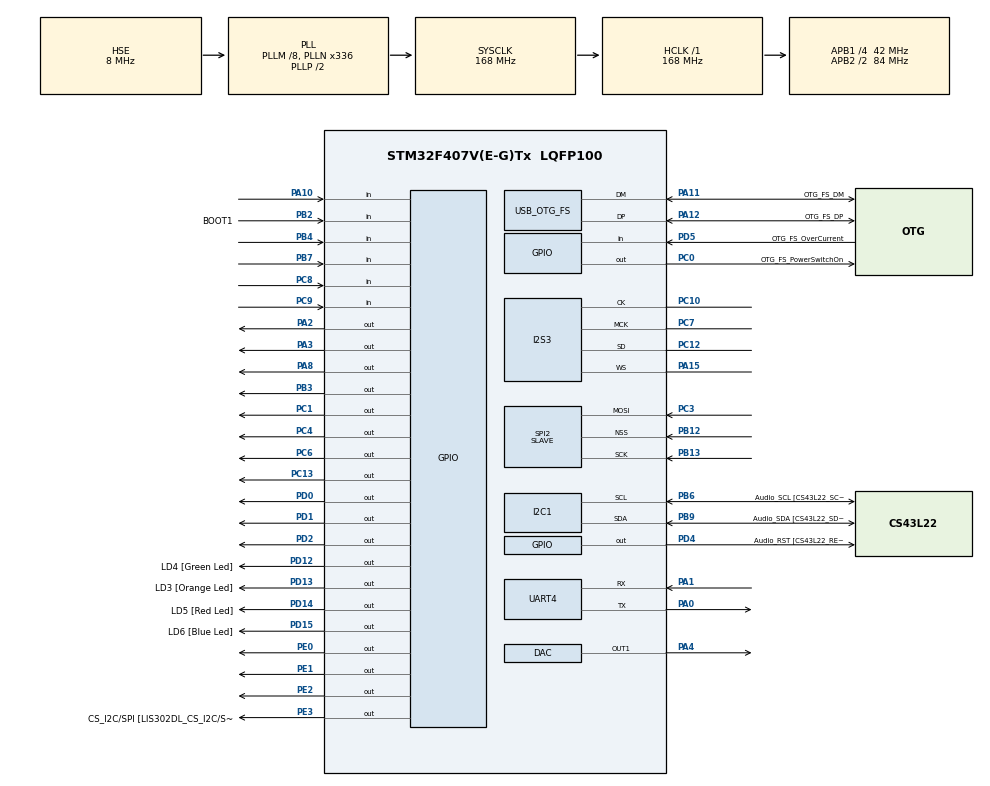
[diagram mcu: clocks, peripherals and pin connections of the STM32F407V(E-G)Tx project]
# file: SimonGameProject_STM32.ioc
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Dma.Request0=SPI3_TX
Dma.SPI3_TX.0.Direction=DMA_MEMORY_TO_PERIPH
Dma.SPI3_TX.0.FIFOMode=DMA_FIFOMODE_ENABLE
Dma.SPI3_TX.0.FIFOThreshold=DMA_FIFO_THRESHOLD_FULL
Dma.SPI3_TX.0.Instance=DMA1_Stream5
Dma.SPI3_TX.0.MemBurst=DMA_MBURST_SINGLE
Dma.SPI3_TX.0.MemDataAlignment=DMA_MDATAALIGN_HALFWORD
Dma.SPI3_TX.0.MemInc=DMA_MINC_ENABLE
Dma.SPI3_TX.0.Mode=DMA_CIRCULAR
Dma.SPI3_TX.0.PeriphBurst=DMA_PBURST_SINGLE
Dma.SPI3_TX.0.PeriphDataAlignment=DMA_PDATAALIGN_HALFWORD
Dma.SPI3_TX.0.PeriphInc=DMA_PINC_DISABLE
Dma.SPI3_TX.0.Priority=DMA_PRIORITY_LOW
I2S3.AudioFreq=I2S_AUDIOFREQ_48K
I2S3.ErrorAudioFreq=-2.34 %
I2S3.FullDuplexMode=I2S_FULLDUPLEXMODE_DISABLE
I2S3.Instance=SPI$Index
I2S3.RealAudioFreq=46.875 KHz
I2S3.VirtualMode=I2S_MODE_MASTER
Mcu.Family=STM32F4
Mcu.Name=STM32F407V(E-G)Tx
Mcu.Package=LQFP100
NVIC.DMA1_Stream5_IRQn=true\:0\:0\:false\:false\:true\:false\:true\:true
NVIC.OTG_FS_IRQn=true\:0\:0\:false\:false\:true\:true\:true\:true
NVIC.PriorityGroup=NVIC_PRIORITYGROUP_0
NVIC.TIM2_IRQn=true\:0\:0\:false\:false\:true\:true\:true\:true
PA0-WKUP.Mode=Asynchronous
PA0-WKUP.Signal=UART4_TX
PA1.Mode=Asynchronous
PA1.Signal=UART4_RX
PA10.Signal=GPIO_Input
PA11.GPIO_Label=OTG_FS_DM
PA11.GPIO_Mode=GPIO_MODE_AF_PP
PA11.GPIO_PuPd=GPIO_NOPULL
PA11.GPIO_Speed=GPIO_SPEED_FREQ_LOW
PA11.Mode=Host_Only
PA11.Signal=USB_OTG_FS_DM
PA12.GPIO_Label=OTG_FS_DP
PA12.GPIO_Mode=GPIO_MODE_AF_PP
PA12.GPIO_PuPd=GPIO_NOPULL
PA12.GPIO_Speed=GPIO_SPEED_FREQ_LOW
PA12.Mode=Host_Only
PA12.Signal=USB_OTG_FS_DP
PA13.GPIO_Label=SWDIO
PA13.Mode=Serial_Wire
PA13.Signal=SYS_JTMS-SWDIO
PA14.GPIO_Label=SWCLK
PA14.Mode=Serial_Wire
PA14.Signal=SYS_JTCK-SWCLK
PA15.Mode=Half_Duplex_Master
PA15.Signal=I2S3_WS
PA2.Signal=GPIO_Output
PA3.Signal=GPIO_Output
PA4.Signal=COMP_DAC1_group
PA8.Signal=GPIO_Output
PB12.Mode=NSS_Signal_Hard_Input
PB12.Signal=SPI2_NSS
PB13.Mode=RX_Only_Simplex_Unidirect_Slave
PB13.Signal=SPI2_SCK
PB2.GPIO_Label=BOOT1
PB2.GPIO_Mode=GPIO_MODE_INPUT
PB2.GPIO_PuPd=GPIO_NOPULL
PB2.Signal=GPIO_Input
PB3.Signal=GPIO_Output
PB4.Signal=GPIO_Input
PB6.GPIO_Label=Audio_SCL [CS43L22_SCL]
PB6.GPIO_Mode=GPIO_MODE_AF_OD
PB6.GPIO_Pu=GPIO_PULLUP
PB6.GPIO_PuPd=GPIO_NOPULL
PB6.GPIO_Speed=GPIO_SPEED_FREQ_LOW
PB6.Mode=I2C
PB6.Signal=I2C1_SCL
PB7.Signal=GPIO_Input
PB9.GPIO_Label=Audio_SDA [CS43L22_SDA]
PB9.GPIO_Mode=GPIO_MODE_AF_OD
PB9.GPIO_Pu=GPIO_PULLUP
PB9.GPIO_PuPd=GPIO_NOPULL
PB9.GPIO_Speed=GPIO_SPEED_FREQ_LOW
PB9.Mode=I2C
PB9.Signal=I2C1_SDA
PC0.GPIO_Label=OTG_FS_PowerSwitchOn
PC0.GPIO_PuPd=GPIO_NOPULL
PC0.GPIO_Speed=GPIO_SPEED_FREQ_LOW
PC0.PinState=GPIO_PIN_SET
PC0.Signal=GPIO_Output
PC1.Signal=GPIO_Output
PC10.Mode=Half_Duplex_Master
PC10.Signal=I2S3_CK
PC12.Mode=Half_Duplex_Master
PC12.Signal=I2S3_SD
PC13-ANTI_TAMP.Signal=GPIO_Output
PC14-OSC32_IN.GPIO_Label=PC14-OSC32_IN
PC14-OSC32_IN.Signal=RCC_OSC32_IN
PC15-OSC32_OUT.GPIO_Label=PC15-OSC32_OUT
PC15-OSC32_OUT.Signal=RCC_OSC32_OUT
PC3.Mode=RX_Only_Simplex_Unidirect_Slave
PC3.Signal=SPI2_MOSI
PC4.Signal=GPIO_Output
PC6.Signal=GPIO_Output
PC7.Mode=Master_Clock_Activated
PC7.Signal=I2S3_MCK
PC8.Signal=GPIO_Input
PC9.Signal=GPIO_Input
PD0.Signal=GPIO_Output
PD1.Signal=GPIO_Output
PD12.GPIO_Label=LD4 [Green Led]
PD12.GPIO_PuPd=GPIO_NOPULL
PD12.GPIO_Speed=GPIO_SPEED_FREQ_LOW
PD12.Signal=GPIO_Output
PD13.GPIO_Label=LD3 [Orange Led]
PD13.GPIO_PuPd=GPIO_NOPULL
PD13.GPIO_Speed=GPIO_SPEED_FREQ_LOW
PD13.Signal=GPIO_Output
PD14.GPIO_Label=LD5 [Red Led]
PD14.GPIO_PuPd=GPIO_NOPULL
PD14.GPIO_Speed=GPIO_SPEED_FREQ_LOW
PD14.Signal=GPIO_Output
PD15.GPIO_Label=LD6 [Blue Led]
PD15.GPIO_PuPd=GPIO_NOPULL
PD15.GPIO_Speed=GPIO_SPEED_FREQ_LOW
PD15.Signal=GPIO_Output
PD2.Signal=GPIO_Output
PD4.GPIO_Label=Audio_RST [CS43L22_RESET]
PD4.GPIO_PuPd=GPIO_NOPULL
PD4.GPIO_Speed=GPIO_SPEED_FREQ_LOW
PD4.Signal=GPIO_Output
PD5.GPIO_Label=OTG_FS_OverCurrent
PD5.GPIO_Mode=GPIO_MODE_INPUT
PD5.GPIO_PuPd=GPIO_NOPULL
PD5.Signal=GPIO_Input
PE0.Signal=GPIO_Output
PE1.Signal=GPIO_Output
PE2.Signal=GPIO_Output
PE3.GPIO_Label=CS_I2C/SPI [LIS302DL_CS_I2C/SPI]
PE3.GPIO_PuPd=GPIO_NOPULL
PE3.GPIO_Speed=GPIO_SPEED_FREQ_LOW
PE3.Signal=GPIO_Output
PH0-OSC_IN.GPIO_Label=PH0-OSC_IN
PH0-OSC_IN.Mode=HSE-External-Oscillator
PH0-OSC_IN.Signal=RCC_OSC_IN
PH1-OSC_OUT.GPIO_Label=PH1-OSC_OUT
PH1-OSC_OUT.Mode=HSE-External-Oscillator
PH1-OSC_OUT.Signal=RCC_OSC_OUT
ProjectManager.HeapSize=0x200
ProjectManager.StackSize=0x400
ProjectManager.TargetToolchain=STM32CubeIDE
RCC.48MHZClocksFreq_Value=48000000
RCC.AHBFreq_Value=168000000
RCC.APB1CLKDivider=RCC_HCLK_DIV4
RCC.APB1Freq_Value=42000000
RCC.APB1TimFreq_Value=84000000
RCC.APB2CLKDivider=RCC_HCLK_DIV2
RCC.APB2Freq_Value=84000000
RCC.APB2TimFreq_Value=168000000
RCC.CortexFreq_Value=168000000
RCC.HCLKFreq_Value=168000000
RCC.HSE_VALUE=8000000
RCC.HSI_VALUE=16000000
RCC.PLLM=8
RCC.PLLN=336
RCC.PLLQ=7
RCC.SYSCLKFreq_VALUE=168000000
RCC.SYSCLKSource=RCC_SYSCLKSOURCE_PLLCLK
RCC.VCOOutputFreq_Value=336000000
SH.COMP_DAC1_group.0=DAC_OUT1,DAC_OUT1
SPI2.Direction=SPI_DIRECTION_2LINES_RXONLY
SPI2.Mode=SPI_MODE_SLAVE
SPI2.VirtualNSS=VM_NSSHARD
SPI2.VirtualType=VM_SLAVE
TIM2.Period=20-1
TIM2.Prescaler=84-1
TIM2.TIM_MasterOutputTrigger=TIM_TRGO_UPDATE
UART4.VirtualMode=Asynchronous
USB_HOST.BSP.number=1
USB_HOST.USBH_HandleTypeDef-CDC_FS=hUsbHostFS
USB_HOST.VirtualModeFS=Cdc
USB_HOST0.BSP.STBoard=false
USB_HOST0.BSP.api=Unknown
USB_HOST0.BSP.instance=PC0
USB_HOST0.BSP.ip=GPIO
USB_HOST0.BSP.mode=Output
USB_HOST0.BSP.name=Drive_VBUS_FS
USB_HOST0.BSP.solution=PC0
USB_OTG_FS.VirtualMode=Host_Only
USB_OTG_FS.phy_itface=HCD_PHY_EMBEDDED
VP_TIM2_VS_ClockSourceINT.Mode=Internal
VP_USB_HOST_VS_USB_HOST_CDC_FS.Mode=CDC_FS
board=STM32F407G-DISC1

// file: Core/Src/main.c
/* USER CODE BEGIN Header */
/**
  ******************************************************************************
  * @file           : main.c
  * @brief          : Main program body
  ******************************************************************************
  * @attention
  *
  * Copyright (c) 2023 STMicroelectronics.
  * All rights reserved.
  *
  * This software is licensed under terms that can be found in the LICENSE file
  * in the root directory of this software component.
  * If no LICENSE file comes with this software, it is provided AS-IS.
  *
  ******************************************************************************
  */
/* USER CODE END Header */
#include "main.h"
#include "usb_host.h"

DAC_HandleTypeDef hdac;

I2C_HandleTypeDef hi2c1;

I2S_HandleTypeDef hi2s3;
DMA_HandleTypeDef hdma_spi3_tx;

SPI_HandleTypeDef hspi2;

TIM_HandleTypeDef htim2;

UART_HandleTypeDef huart4;

void SystemClock_Config(void);
static void MX_GPIO_Init(void);
static void MX_DMA_Init(void);
static void MX_I2C1_Init(void);
static void MX_DAC_Init(void);
static void MX_I2S3_Init(void);
static void MX_SPI2_Init(void);
static void MX_UART4_Init(void);
static void MX_TIM2_Init(void);
void MX_USB_HOST_Process(void);

/* USER CODE BEGIN PFP */
void SimonGameWelcome(void);
/* USER CODE END PFP */

/* USER CODE BEGIN 0 */
void SimonGameWelcome(void) {
	HAL_GPIO_WritePin(GPIOB, GPIO_PIN_3, GPIO_PIN_SET);
	HAL_Delay(100);

	HAL_GPIO_WritePin(GPIOB, GPIO_PIN_3, GPIO_PIN_RESET);
	HAL_GPIO_WritePin(GPIOA, GPIO_PIN_8, GPIO_PIN_SET);
	HAL_Delay(100);

	HAL_GPIO_WritePin(GPIOA, GPIO_PIN_8, GPIO_PIN_RESET);
	HAL_GPIO_WritePin(GPIOC, GPIO_PIN_6, GPIO_PIN_SET);
	HAL_Delay(100);

	HAL_GPIO_WritePin(GPIOC, GPIO_PIN_6, GPIO_PIN_RESET);
	HAL_GPIO_WritePin(GPIOC, GPIO_PIN_13, GPIO_PIN_SET);
	HAL_Delay(100);

	HAL_GPIO_WritePin(GPIOC, GPIO_PIN_13, GPIO_PIN_RESET);

	HAL_Delay(2500);
}

/* USER CODE END 0 */

int main(void)
{

  /* MCU Configuration--------------------------------------------------------*/

  /* Reset of all peripherals, Initializes the Flash interface and the Systick. */
  HAL_Init();

  /* Configure the system clock */
  SystemClock_Config();

  /* Initialize all configured peripherals */
  MX_GPIO_Init();
  MX_DMA_Init();
  MX_I2C1_Init();
  MX_USB_HOST_Init();
  MX_DAC_Init();
  MX_I2S3_Init();
  MX_SPI2_Init();
  MX_UART4_Init();
  MX_TIM2_Init();

  /* Infinite loop */
  /* USER CODE BEGIN WHILE */
  while (1)
  {
    //printf("Hello World!!!\n");

    /* USER CODE END WHILE */
    MX_USB_HOST_Process();

    /* USER CODE BEGIN 3 */
	SimonGameWelcome();

	MX_USB_HOST_Process();
  }
  /* USER CODE END 3 */
}

void SystemClock_Config(void)
{
  RCC_OscInitTypeDef RCC_OscInitStruct = {0};
  RCC_ClkInitTypeDef RCC_ClkInitStruct = {0};

  /** Configure the main internal regulator output voltage
  */
  __HAL_RCC_PWR_CLK_ENABLE();
  __HAL_PWR_VOLTAGESCALING_CONFIG(PWR_REGULATOR_VOLTAGE_SCALE1);

  /** Initializes the RCC Oscillators according to the specified parameters
  * in the RCC_OscInitTypeDef structure.
  */
  RCC_OscInitStruct.OscillatorType = RCC_OSCILLATORTYPE_HSE;
  RCC_OscInitStruct.HSEState = RCC_HSE_ON;
  RCC_OscInitStruct.PLL.PLLState = RCC_PLL_ON;
  RCC_OscInitStruct.PLL.PLLSource = RCC_PLLSOURCE_HSE;
  RCC_OscInitStruct.PLL.PLLM = 8;
  RCC_OscInitStruct.PLL.PLLN = 336;
  RCC_OscInitStruct.PLL.PLLP = RCC_PLLP_DIV2;
  RCC_OscInitStruct.PLL.PLLQ = 7;
  if (HAL_RCC_OscConfig(&RCC_OscInitStruct) != HAL_OK)
  {
    Error_Handler();
  }

  /** Initializes the CPU, AHB and APB buses clocks
  */
  RCC_ClkInitStruct.ClockType = RCC_CLOCKTYPE_HCLK|RCC_CLOCKTYPE_SYSCLK
                              |RCC_CLOCKTYPE_PCLK1|RCC_CLOCKTYPE_PCLK2;
  RCC_ClkInitStruct.SYSCLKSource = RCC_SYSCLKSOURCE_PLLCLK;
  RCC_ClkInitStruct.AHBCLKDivider = RCC_SYSCLK_DIV1;
  RCC_ClkInitStruct.APB1CLKDivider = RCC_HCLK_DIV4;
  RCC_ClkInitStruct.APB2CLKDivider = RCC_HCLK_DIV2;

  if (HAL_RCC_ClockConfig(&RCC_ClkInitStruct, FLASH_LATENCY_5) != HAL_OK)
  {
    Error_Handler();
  }
}

static void MX_DAC_Init(void)
{

  DAC_ChannelConfTypeDef sConfig = {0};

  /** DAC Initialization
  */
  hdac.Instance = DAC;
  if (HAL_DAC_Init(&hdac) != HAL_OK)
  {
    Error_Handler();
  }

  /** DAC channel OUT1 config
  */
  sConfig.DAC_Trigger = DAC_TRIGGER_NONE;
  sConfig.DAC_OutputBuffer = DAC_OUTPUTBUFFER_ENABLE;
  if (HAL_DAC_ConfigChannel(&hdac, &sConfig, DAC_CHANNEL_1) != HAL_OK)
  {
    Error_Handler();
  }

}

static void MX_I2C1_Init(void)
{

  hi2c1.Instance = I2C1;
  hi2c1.Init.ClockSpeed = 100000;
  hi2c1.Init.DutyCycle = I2C_DUTYCYCLE_2;
  hi2c1.Init.OwnAddress1 = 0;
  hi2c1.Init.AddressingMode = I2C_ADDRESSINGMODE_7BIT;
  hi2c1.Init.DualAddressMode = I2C_DUALADDRESS_DISABLE;
  hi2c1.Init.OwnAddress2 = 0;
  hi2c1.Init.GeneralCallMode = I2C_GENERALCALL_DISABLE;
  hi2c1.Init.NoStretchMode = I2C_NOSTRETCH_DISABLE;
  if (HAL_I2C_Init(&hi2c1) != HAL_OK)
  {
    Error_Handler();
  }

}

static void MX_I2S3_Init(void)
{

  hi2s3.Instance = SPI3;
  hi2s3.Init.Mode = I2S_MODE_MASTER_TX;
  hi2s3.Init.Standard = I2S_STANDARD_PHILIPS;
  hi2s3.Init.DataFormat = I2S_DATAFORMAT_16B;
  hi2s3.Init.MCLKOutput = I2S_MCLKOUTPUT_ENABLE;
  hi2s3.Init.AudioFreq = I2S_AUDIOFREQ_48K;
  hi2s3.Init.CPOL = I2S_CPOL_LOW;
  hi2s3.Init.ClockSource = I2S_CLOCK_PLL;
  hi2s3.Init.FullDuplexMode = I2S_FULLDUPLEXMODE_DISABLE;
  if (HAL_I2S_Init(&hi2s3) != HAL_OK)
  {
    Error_Handler();
  }

}

static void MX_SPI2_Init(void)
{

  /* SPI2 parameter configuration*/
  hspi2.Instance = SPI2;
  hspi2.Init.Mode = SPI_MODE_SLAVE;
  hspi2.Init.Direction = SPI_DIRECTION_2LINES_RXONLY;
  hspi2.Init.DataSize = SPI_DATASIZE_8BIT;
  hspi2.Init.CLKPolarity = SPI_POLARITY_LOW;
  hspi2.Init.CLKPhase = SPI_PHASE_1EDGE;
  hspi2.Init.NSS = SPI_NSS_HARD_INPUT;
  hspi2.Init.FirstBit = SPI_FIRSTBIT_MSB;
  hspi2.Init.TIMode = SPI_TIMODE_DISABLE;
  hspi2.Init.CRCCalculation = SPI_CRCCALCULATION_DISABLE;
  hspi2.Init.CRCPolynomial = 10;
  if (HAL_SPI_Init(&hspi2) != HAL_OK)
  {
    Error_Handler();
  }

}

static void MX_TIM2_Init(void)
{

  TIM_ClockConfigTypeDef sClockSourceConfig = {0};
  TIM_MasterConfigTypeDef sMasterConfig = {0};

  htim2.Instance = TIM2;
  htim2.Init.Prescaler = 84-1;
  htim2.Init.CounterMode = TIM_COUNTERMODE_UP;
  htim2.Init.Period = 20-1;
  htim2.Init.ClockDivision = TIM_CLOCKDIVISION_DIV1;
  htim2.Init.AutoReloadPreload = TIM_AUTORELOAD_PRELOAD_DISABLE;
  if (HAL_TIM_Base_Init(&htim2) != HAL_OK)
  {
    Error_Handler();
  }
  sClockSourceConfig.ClockSource = TIM_CLOCKSOURCE_INTERNAL;
  if (HAL_TIM_ConfigClockSource(&htim2, &sClockSourceConfig) != HAL_OK)
  {
    Error_Handler();
  }
  sMasterConfig.MasterOutputTrigger = TIM_TRGO_UPDATE;
  sMasterConfig.MasterSlaveMode = TIM_MASTERSLAVEMODE_DISABLE;
  if (HAL_TIMEx_MasterConfigSynchronization(&htim2, &sMasterConfig) != HAL_OK)
  {
    Error_Handler();
  }

}

static void MX_UART4_Init(void)
{

  huart4.Instance = UART4;
  huart4.Init.BaudRate = 115200;
  huart4.Init.WordLength = UART_WORDLENGTH_8B;
  huart4.Init.StopBits = UART_STOPBITS_1;
  huart4.Init.Parity = UART_PARITY_NONE;
  huart4.Init.Mode = UART_MODE_TX_RX;
  huart4.Init.HwFlowCtl = UART_HWCONTROL_NONE;
  huart4.Init.OverSampling = UART_OVERSAMPLING_16;
  if (HAL_UART_Init(&huart4) != HAL_OK)
  {
    Error_Handler();
  }

}

static void MX_DMA_Init(void)
{

  /* DMA controller clock enable */
  __HAL_RCC_DMA1_CLK_ENABLE();

  /* DMA interrupt init */
  /* DMA1_Stream5_IRQn interrupt configuration */
  HAL_NVIC_SetPriority(DMA1_Stream5_IRQn, 0, 0);
  HAL_NVIC_EnableIRQ(DMA1_Stream5_IRQn);

}

static void MX_GPIO_Init(void)
{
  GPIO_InitTypeDef GPIO_InitStruct = {0};

  /* GPIO Ports Clock Enable */
  __HAL_RCC_GPIOE_CLK_ENABLE();
  __HAL_RCC_GPIOC_CLK_ENABLE();
  __HAL_RCC_GPIOH_CLK_ENABLE();
  __HAL_RCC_GPIOA_CLK_ENABLE();
  __HAL_RCC_GPIOB_CLK_ENABLE();
  __HAL_RCC_GPIOD_CLK_ENABLE();

  /*Configure GPIO pin Output Level */
  HAL_GPIO_WritePin(GPIOE, GPIO_PIN_2|CS_I2C_SPI_Pin|GPIO_PIN_0|GPIO_PIN_1, GPIO_PIN_RESET);

  /*Configure GPIO pin Output Level */
  HAL_GPIO_WritePin(GPIOC, GPIO_PIN_13|GPIO_PIN_1|GPIO_PIN_4|GPIO_PIN_6, GPIO_PIN_RESET);

  /*Configure GPIO pin Output Level */
  HAL_GPIO_WritePin(OTG_FS_PowerSwitchOn_GPIO_Port, OTG_FS_PowerSwitchOn_Pin, GPIO_PIN_SET);

  /*Configure GPIO pin Output Level */
  HAL_GPIO_WritePin(GPIOA, GPIO_PIN_2|GPIO_PIN_3|GPIO_PIN_8, GPIO_PIN_RESET);

  /*Configure GPIO pin Output Level */
  HAL_GPIO_WritePin(GPIOD, LD4_Pin|LD3_Pin|LD5_Pin|LD6_Pin
                          |GPIO_PIN_0|GPIO_PIN_1|GPIO_PIN_2|Audio_RST_Pin, GPIO_PIN_RESET);

  /*Configure GPIO pin Output Level */
  HAL_GPIO_WritePin(GPIOB, GPIO_PIN_3, GPIO_PIN_RESET);

  /*Configure GPIO pins : PE2 CS_I2C_SPI_Pin PE0 PE1 */
  GPIO_InitStruct.Pin = GPIO_PIN_2|CS_I2C_SPI_Pin|GPIO_PIN_0|GPIO_PIN_1;
  GPIO_InitStruct.Mode = GPIO_MODE_OUTPUT_PP;
  GPIO_InitStruct.Pull = GPIO_NOPULL;
  GPIO_InitStruct.Speed = GPIO_SPEED_FREQ_LOW;
  HAL_GPIO_Init(GPIOE, &GPIO_InitStruct);

  /*Configure GPIO pins : PC13 OTG_FS_PowerSwitchOn_Pin PC1 PC4
                           PC6 */
  GPIO_InitStruct.Pin = GPIO_PIN_13|OTG_FS_PowerSwitchOn_Pin|GPIO_PIN_1|GPIO_PIN_4
                          |GPIO_PIN_6;
  GPIO_InitStruct.Mode = GPIO_MODE_OUTPUT_PP;
  GPIO_InitStruct.Pull = GPIO_NOPULL;
  GPIO_InitStruct.Speed = GPIO_SPEED_FREQ_LOW;
  HAL_GPIO_Init(GPIOC, &GPIO_InitStruct);

  /*Configure GPIO pins : PA2 PA3 PA8 */
  GPIO_InitStruct.Pin = GPIO_PIN_2|GPIO_PIN_3|GPIO_PIN_8;
  GPIO_InitStruct.Mode = GPIO_MODE_OUTPUT_PP;
  GPIO_InitStruct.Pull = GPIO_NOPULL;
  GPIO_InitStruct.Speed = GPIO_SPEED_FREQ_LOW;
  HAL_GPIO_Init(GPIOA, &GPIO_InitStruct);

  /*Configure GPIO pins : BOOT1_Pin PB4 PB7 */
  GPIO_InitStruct.Pin = BOOT1_Pin|GPIO_PIN_4|GPIO_PIN_7;
  GPIO_InitStruct.Mode = GPIO_MODE_INPUT;
  GPIO_InitStruct.Pull = GPIO_NOPULL;
  HAL_GPIO_Init(GPIOB, &GPIO_InitStruct);

  /*Configure GPIO pins : LD4_Pin LD3_Pin LD5_Pin LD6_Pin
                           PD0 PD1 PD2 Audio_RST_Pin */
  GPIO_InitStruct.Pin = LD4_Pin|LD3_Pin|LD5_Pin|LD6_Pin
                          |GPIO_PIN_0|GPIO_PIN_1|GPIO_PIN_2|Audio_RST_Pin;
  GPIO_InitStruct.Mode = GPIO_MODE_OUTPUT_PP;
  GPIO_InitStruct.Pull = GPIO_NOPULL;
  GPIO_InitStruct.Speed = GPIO_SPEED_FREQ_LOW;
  HAL_GPIO_Init(GPIOD, &GPIO_InitStruct);

  /*Configure GPIO pins : PC8 PC9 */
  GPIO_InitStruct.Pin = GPIO_PIN_8|GPIO_PIN_9;
  GPIO_InitStruct.Mode = GPIO_MODE_INPUT;
  GPIO_InitStruct.Pull = GPIO_NOPULL;
  HAL_GPIO_Init(GPIOC, &GPIO_InitStruct);

  /*Configure GPIO pin : PA10 */
  GPIO_InitStruct.Pin = GPIO_PIN_10;
  GPIO_InitStruct.Mode = GPIO_MODE_INPUT;
  GPIO_InitStruct.Pull = GPIO_NOPULL;
  HAL_GPIO_Init(GPIOA, &GPIO_InitStruct);

  /*Configure GPIO pin : OTG_FS_OverCurrent_Pin */
  GPIO_InitStruct.Pin = OTG_FS_OverCurrent_Pin;
  GPIO_InitStruct.Mode = GPIO_MODE_INPUT;
  GPIO_InitStruct.Pull = GPIO_NOPULL;
  HAL_GPIO_Init(OTG_FS_OverCurrent_GPIO_Port, &GPIO_InitStruct);

  /*Configure GPIO pin : PB3 */
  GPIO_InitStruct.Pin = GPIO_PIN_3;
  GPIO_InitStruct.Mode = GPIO_MODE_OUTPUT_PP;
  GPIO_InitStruct.Pull = GPIO_NOPULL;
  GPIO_InitStruct.Speed = GPIO_SPEED_FREQ_LOW;
  HAL_GPIO_Init(GPIOB, &GPIO_InitStruct);

}

void Error_Handler(void)
{
  __disable_irq();
  while (1)
  {
  }
}
